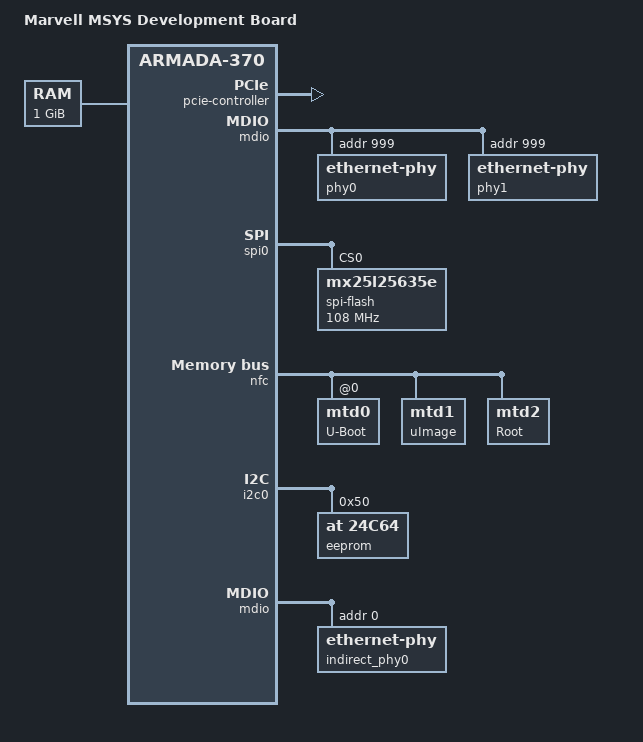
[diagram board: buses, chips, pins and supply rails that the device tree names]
/*
 * Modular Device Tree of Marvell boards for MSYS devices: BobCat2, AlleyCat3, BobK
 *
 * Copyright (C) 2015 Marvell
 *
 * This file is licensed under the terms of the GNU General Public
 * License version 2.  This program is licensed "as is" without any
 * warranty of any kind, whether express or implied.
 */

/dts-v1/;
#include <dt-bindings/gpio/gpio.h>
#include "msys-bc2.dtsi"
#include "msys-ac3.dtsi"
#include "msys-bobk.dtsi"

/ {
	model = "Marvell MSYS Development Board";
	compatible = "marvell,msys", "marvell,msys-ac3",
		     "marvell,msys-ac3-db", "marvell,armada-370-xp";


	chosen {
		bootargs = "console=ttyS0,115200 earlyprintk";
	};

	memory {
		/*
                 * 1GB of plug-in RAM modules by default. The amount
                 * of memory available can be changed by the
                 * bootloader according the size of the module
                 * actually plugged.
		 */
		device_type = "memory";
		reg = <0x00000000 0x00000000 0x00000000 0x40000000>;
	};

	soc {
		ranges = <MBUS_ID(0xf0, 0x01) 0 0 0xf1000000 0x100000
			  MBUS_ID(0x01, 0x1d) 0 0 0xfff00000 0x100000
			  MBUS_ID(0x01, 0x2f) 0 0 0xf0000000 0x1000000
			  MBUS_ID(0x03, 0x00) 0 0 0xf8000000 0x4000000	/* switch */
			  MBUS_ID(0x08, 0x00) 0 0 0xfc000000 0x100000>;	/* dfx */

		devbus-bootcs {

			/* Read parameters */
			devbus,bus-width    = <16>;
			devbus,turn-off-ps  = <60000>;
			devbus,badr-skew-ps = <0>;
			devbus,acc-first-ps = <124000>;
			devbus,acc-next-ps  = <248000>;
			devbus,rd-setup-ps  = <0>;
			devbus,rd-hold-ps   = <0>;

			/* Write parameters */
			devbus,sync-enable = <0>;
			devbus,wr-high-ps  = <60000>;
			devbus,wr-low-ps   = <60000>;
			devbus,ale-wr-ps   = <60000>;

			/* NOR 16 MiB */
			nor@0 {
				compatible = "cfi-flash";
				reg = <0 0x1000000>;
				bank-width = <2>;
			};
		};

		pcie-controller {
			status = "okay";

			pcie@1,0 {
				status = "okay";
			};
		};

		internal-regs {
			ethernet@70000 {
				status = "disabled";
				phy = <&phy0>;
				phy-mode = "sgmii";
			};

			ethernet@74000 {
				status = "disabled";
				phy = <&phy1>;
				/* - 'phy' property must point to the corresponding 'ethernet-phy@' node in the
				 *   internal/external mdio node
				 * - by default 'phy' points to internal mdio node (/soc/internal-regs/mdio)
				 * - when using external PP smi, 'phy' will be modified by U-Boot to point
				 *   to the correct 'indirect-phy' external mdio node (/switch/mdio)
				 */
				indirect-phy = <&indirect_phy0>;
				phy-mode = "sgmii";
			};

			mdio {
				/* used for direct internal SMI access for BC2/AC3 devices */
				phy0: ethernet-phy@0 {
					reg = <999>;
				};

				phy1: ethernet-phy@1 {
					reg = <999>;
				};
			};

			spi0: spi@10600 {
				spi-flash@0 {
					#address-cells = <1>;
					#size-cells = <1>;
					compatible = "mx25l25635e";
					reg = <0>; /* Chip select 0 */
					spi-max-frequency = <108000000>;
				};
			};

			mvsdio@d4000 {
				wp-gpios = <&gpio0 18 0>;
				broken-cd;
			};

			nfc: nand-flash@d0000 {
				#address-cells = <1>;
				#size-cells = <1>;

				nfc,nfc-mode  = "normal";       /* normal or ganged */
				nfc,nfc-dma   = <0>;            /* 0 for no, 1 for dma */
				nfc,nfc-width = <8>;
				nfc,ecc-type  = <1>;            /* 4 bit */
				nfc,num-cs    = <1>;

				mtd0@00000000 {
					label = "U-Boot";
					reg = <0x00000000 0x00800000>;
					read-only;
				};

				mtd1@00080000 {
					label = "uImage";
					reg = <0x00800000 0x00800000>;
					read-only;
				};

				mtd2@00140000 {
					label = "Root";
					reg = <0x01000000 0x3f000000>;
				};
			};
			i2c0: i2c@11000 {
				eeprom@50 {
					compatible = "at,24c64";
					pagesize = <32>;
					reg = <0x50>;
					marvell,board_id_reg = <0x7>;
				};
			};
		};

		prestera {
			/* the CPSS board ID can be enforced
			   this field is adapted for BobK Cetus
			cpss_force_board_id = <0x50>; */
		        status = "okay";
		};

		addr-compl {
			compatible = "marvell,msys-addr-compl";
			reg = <MBUS_ID(0x03, 0x00) 0 0x200>; /* Switch MG register base */
		};
	};

	switch {
		#address-cells = <1>;
		#size-cells = <1>;
		mdio {
			#address-cells = <1>;
			#size-cells = <0>;
			reg = <0x54000000 0x8>; /* Switch SMI register base */
			smi-indirect-access;
			indirect_phy0: ethernet-phy@0 {
				reg = <0>;
			};
		};
	};
};

